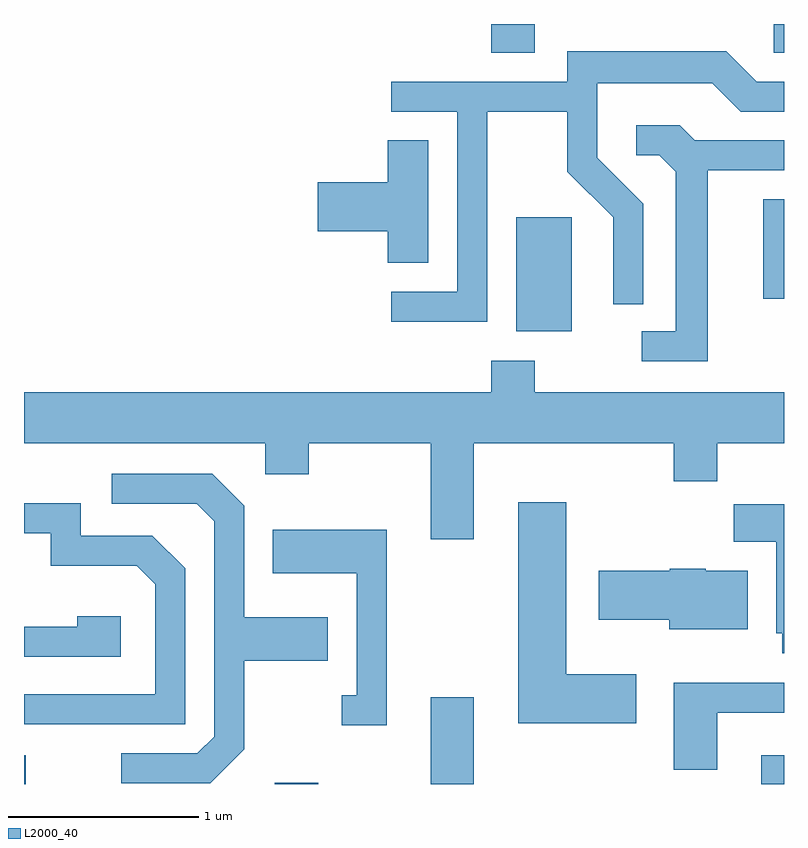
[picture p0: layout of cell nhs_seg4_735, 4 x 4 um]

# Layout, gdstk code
import gdstk
lib = gdstk.Library(unit=1e-6, precision=1e-09)
def R(c, l, rs):  # rectangles x0, y0, x1, y1
    for r in rs: c.add(gdstk.rectangle(r[:2], r[2:], *l))
def P(c, l, *ps):  # polygons
    for p in ps: c.add(gdstk.Polygon(p, *l))
L2000_40 = (2000, 40)

nhs_seg4_735 = lib.new_cell('nhs_seg4_735')
R(nhs_seg4_735, L2000_40, [(205.611,1363.982,205.619,1364.134), (206.931,1363.982,207.159,1363.989), (207.751,1363.982,207.979,1364.439), (209.491,1363.982,209.611,1364.134), (208.201,1366.366,208.494,1366.964), (209.501,1366.536,209.611,1367.059), (208.071,1367.831,208.299,1367.982), (209.556,1367.831,209.611,1367.982)])
P(nhs_seg4_735, L2000_40, [(208.049,1367.521),(208.471,1367.521),(208.471,1367.204),(208.711,1366.964),(208.711,1366.508),(208.869,1366.508),(208.869,1367.037),(208.629,1367.277),(208.629,1367.671),(209.234,1367.671),(209.384,1367.521),(209.611,1367.521),(209.611,1367.679),(209.467,1367.679),(209.307,1367.839),(208.471,1367.839),(208.471,1367.679),(207.543,1367.679),(207.543,1367.521),(207.891,1367.521),(207.891,1366.574),(207.543,1366.574),(207.543,1366.416),(208.049,1366.416)],
  [(209.209,1367.211),(209.611,1367.211),(209.611,1367.369),(209.142,1367.369),(209.062,1367.449),(208.833,1367.449),(208.833,1367.291),(208.954,1367.291),(209.041,1367.204),(209.041,1366.364),(208.863,1366.364),(208.863,1366.206),(209.209,1366.206)],
  [(207.739,1367.369),(207.526,1367.369),(207.526,1367.149),(207.156,1367.149),(207.156,1366.891),(207.526,1366.891),(207.526,1366.726),(207.739,1366.726)],
  [(207.979,1365.776),(209.031,1365.776),(209.031,1365.576),(209.259,1365.576),(209.259,1365.776),(209.611,1365.776),(209.611,1366.044),(208.299,1366.044),(208.299,1366.209),(208.071,1366.209),(208.071,1366.044),(205.611,1366.044),(205.611,1365.776),(206.881,1365.776),(206.881,1365.611),(207.109,1365.611),(207.109,1365.776),(207.751,1365.776),(207.751,1365.271),(207.979,1365.271)],
  [(206.769,1364.164),(206.769,1364.631),(207.209,1364.631),(207.209,1364.859),(206.769,1364.859),(206.769,1365.447),(206.602,1365.614),(206.073,1365.614),(206.073,1365.456),(206.519,1365.456),(206.611,1365.364),(206.611,1364.232),(206.524,1364.144),(206.123,1364.144),(206.123,1363.986),(206.592,1363.986)],
  [(208.834,1364.559),(208.464,1364.559),(208.464,1365.464),(208.211,1365.464),(208.211,1364.301),(208.834,1364.301)],
  [(206.459,1365.117),(206.287,1365.289),(205.909,1365.289),(205.909,1365.459),(205.611,1365.459),(205.611,1365.301),(205.751,1365.301),(205.751,1365.131),(206.204,1365.131),(206.301,1365.034),(206.301,1364.454),(205.611,1364.454),(205.611,1364.296),(206.459,1364.296)],
  [(209.611,1365.454),(209.346,1365.454),(209.346,1365.256),(209.571,1365.256),(209.571,1364.776),(209.601,1364.776),(209.601,1364.671),(209.611,1364.671)],
  [(207.519,1365.319),(206.921,1365.319),(206.921,1365.091),(207.361,1365.091),(207.361,1364.449),(207.283,1364.449),(207.283,1364.291),(207.519,1364.291)],
  [(209.419,1365.104),(209.2,1365.104),(209.2,1365.114),(209.01,1365.114),(209.01,1365.104),(208.636,1365.104),(208.636,1364.846),(209.006,1364.846),(209.006,1364.796),(209.419,1364.796)],
  [(206.119,1364.864),(205.891,1364.864),(205.891,1364.809),(205.611,1364.809),(205.611,1364.651),(206.119,1364.651)],
  [(209.259,1364.356),(209.611,1364.356),(209.611,1364.514),(209.031,1364.514),(209.031,1364.056),(209.259,1364.056)])

lib.write_gds('nhs_seg4_735.gds')
